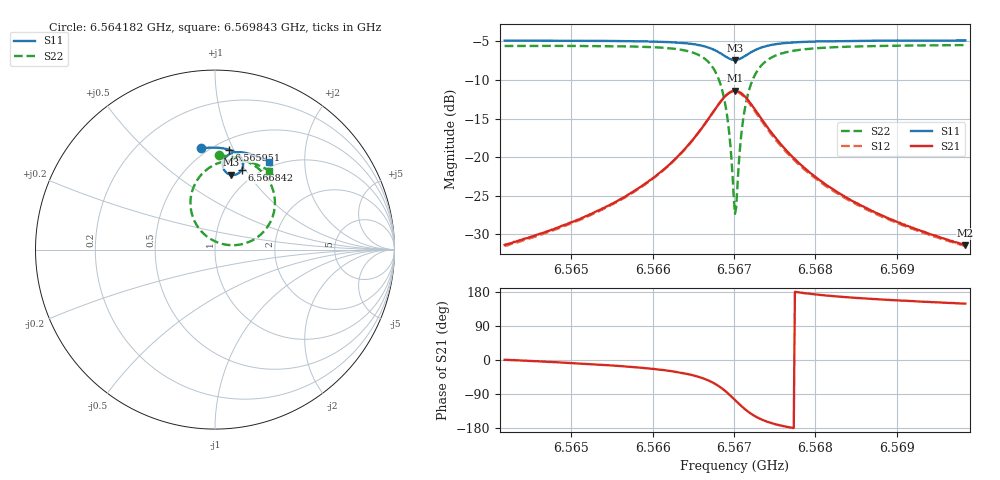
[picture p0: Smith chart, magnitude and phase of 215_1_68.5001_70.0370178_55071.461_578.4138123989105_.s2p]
#  HZ  S  RI  R  50.00
! Rohde & Schwarz Vector Network Analyzer
! Rohde-Schwarz,ZNB20-2Port,1311601062101988,3.16
! Created: UTC 3/20/2024, 4:58:11 PM
! freq[Hz]  re:S11  im:S11  re:S21  im:S21  re:S12  im:S12  re:S22  im:S22
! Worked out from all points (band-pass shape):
!   401 points, 6.564182 GHz to 6.569843 GHz, reference 50 ohm
!   highest |S21| = -11.40 dB at 6.567012 GHz (marker M1); lowest = -31.4 dB at 6.569843 GHz (marker M2)
!   |S21| within 3 dB of the highest: 6.566728 GHz to 6.567295 GHz (567 kHz wide, 0.00863 % of centre)
!   lowest |S11| = -7.4 dB at 6.567012 GHz (marker M3), VSWR 2.48, Z = 40.7 + j41.4 ohm
!   |S11| at or under -10 dB: nowhere
!   |S22| runs from -27.4 to -5.5 dB; largest |S21 - S12| = 0.013
!   S11 on the Smith chart (normalised r, x): 6.564182 GHz: 0.46, +0.76; 6.565951 GHz: 0.59, +0.96; 6.566842 GHz: 0.85, +0.96; 6.569843 GHz: 0.93, +1.34
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6.5641816e9  -0.0761 0.5641  0.0269 0.000199  0.0264 -0.000245  0.0234 0.5253
6.5651299e9  0.000922 0.5681  0.0397 -0.00675  0.0389 -0.00729  0.1115 0.5139
6.5659508e9  0.0758 0.5575  0.0645 -0.0265  0.0633 -0.0272  0.2129 0.4724
6.5660781e9  0.0891 0.5533  0.0709 -0.0334  0.0698 -0.0343  0.2334 0.4582
6.5663754e9  0.1223 0.536  0.0903 -0.0622  0.0889 -0.0635  0.2891 0.401
6.5666018e9  0.1483 0.5073  0.1045 -0.1121  0.1021 -0.1143  0.3301 0.3045
6.5667434e9  0.1569 0.4746  0.0977 -0.1694  0.0934 -0.1724  0.3248 0.1953
6.5668424e9  0.1487 0.4442  0.0662 -0.2215  0.0589 -0.2243  0.2693 0.0977
6.5668849e9  0.1388 0.4316  0.0409 -0.2423  0.032 -0.2441  0.2229 0.06
6.5669274e9  0.1245 0.4215  0.00781 -0.2577  -0.00259 -0.2579  0.1625 0.0333
6.5669981e9  0.0939 0.4159  -0.0587 -0.2624  -0.0698 -0.2577  0.0438 0.0307
6.5670123e9  0.0875 0.417  -0.0723 -0.2593  -0.0832 -0.2535  0.0204 0.0376
6.5670406e9  0.0753 0.4213  -0.0979 -0.2492  -0.108 -0.2417  -0.0238 0.0585
6.567083e9  0.06 0.4321  -0.131 -0.2258  -0.1387 -0.2162  -0.0777 0.1035
6.5671255e9  0.0495 0.4465  -0.1545 -0.1965  -0.1596 -0.186  -0.1137 0.158
6.5671821e9  0.0434 0.4674  -0.1708 -0.1552  -0.1728 -0.1449  -0.1352 0.2321
6.5672529e9  0.0458 0.4906  -0.1734 -0.1098  -0.1726 -0.1008  -0.1311 0.3111
6.567352e9  0.0587 0.514  -0.1601 -0.064  -0.1576 -0.0575  -0.0981 0.3888
6.5675077e9  0.0839 0.5331  -0.1315 -0.0244  -0.1285 -0.0207  -0.0354 0.4536
6.5679606e9  0.1447 0.5427  -0.0767 0.0083  -0.0749 0.00934  0.0918 0.4977
6.5689089e9  0.2309 0.5206  -0.0369 0.0146  -0.0362 0.0148  0.2213 0.4784
6.569843e9  0.2989 0.4865  -0.0229 0.0138  -0.0224 0.0141  0.3006 0.4402
